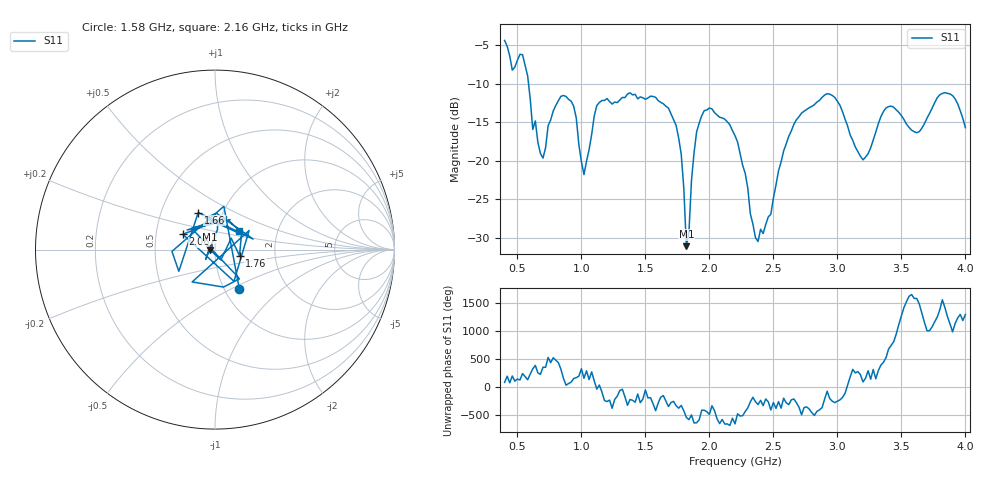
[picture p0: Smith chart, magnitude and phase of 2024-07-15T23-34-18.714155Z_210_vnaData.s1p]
!Created with skrf (http://scikit-rf.org).
# Hz S RI R 50.0
!freq ReS11 ImS11
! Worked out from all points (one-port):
!   181 points, 400 MHz to 4 GHz, reference 50 ohm
!   lowest |S11| = -31.1 dB at 1.82 GHz (marker M1), VSWR 1.06, Z = 47.3 - j0.0607 ohm
!   |S11| at or under -10 dB: 587.1 MHz to end of sweep
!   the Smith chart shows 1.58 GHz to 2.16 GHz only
!   S11 on the Smith chart (normalised r, x): 1.58 GHz: 1.17, -0.55; 1.66 GHz: 0.77, +0.33; 1.76 GHz: 1.31, -0.09; 2.06 GHz: 0.69, +0.12; 2.16 GHz: 1.28, +0.28
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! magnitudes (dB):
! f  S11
! 400 MHz  -4.3
! 460 MHz  -8.2
! 540 MHz  -6.2
! 620 MHz  -15.9
! 700 MHz  -19.6
! 860 MHz  -11.5
! 940 MHz  -12.9
! 1.02 GHz  -21.8
! 1.12 GHz  -12.8
! 1.3 GHz  -12.1
! 1.58 GHz  -11.7
! 1.66 GHz  -12.9
! 1.76 GHz  -17.0
! 1.8 GHz  -23.5
! 1.82 GHz  -31.1
! 1.9 GHz  -16.2
! 2.06 GHz  -14.0
! 2.16 GHz  -15.3
! 2.2 GHz  -16.7
! 2.38 GHz  -30.5
! 2.66 GHz  -15.2
! 2.94 GHz  -11.3
! 3.1 GHz  -16.6
! 3.2 GHz  -19.9
! 3.38 GHz  -13.1
! 3.56 GHz  -15.6
! 3.84 GHz  -11.1
! 4 GHz  -15.7
